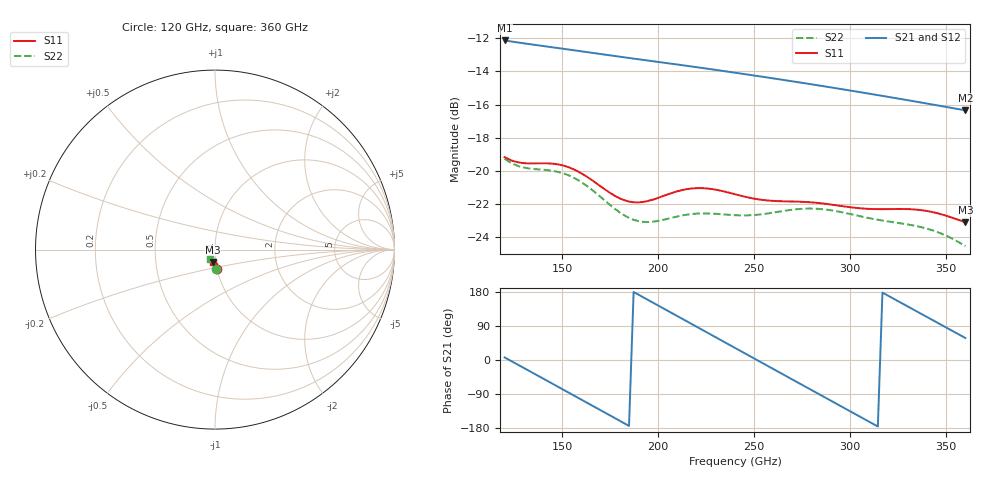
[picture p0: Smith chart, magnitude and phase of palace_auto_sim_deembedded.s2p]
! Created with skrf 1.11.0 (http://scikit-rf.org).
# GHz S DB R 50.0
!freq dBS11 angS11 dBS21 angS21 dBS12 angS12 dBS22 angS22
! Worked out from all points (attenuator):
!   101 points, 120 GHz to 360 GHz, reference 50 ohm
!   highest |S21| = -12.13 dB at 120 GHz (marker M1); lowest = -16.4 dB at 360 GHz (marker M2)
!   lowest |S11| = -23.1 dB at 360 GHz (marker M3), VSWR 1.15, Z = 48.3 - j6.69 ohm
!   |S11| at or under -10 dB: start of sweep to end of sweep
!   |S22| runs from -24.6 to -19.3 dB; largest |S21 - S12| = 3.6e-14
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120  -19.18 -83.6  -12.13 6.8  -12.13 6.8  -19.28 -86.0
129.6  -19.53 -81.2  -12.29 -19.9  -12.29 -19.9  -19.79 -83.9
141.6  -19.55 -81.6  -12.49 -53.3  -12.49 -53.3  -19.95 -84.1
151.2  -19.71 -84.5  -12.64 -80.1  -12.64 -80.1  -20.18 -87.0
160.8  -20.21 -87.6  -12.80 -106.9  -12.80 -106.9  -20.75 -90.5
172.8  -21.17 -88.7  -12.99 -140.4  -12.99 -140.4  -21.86 -92.3
182.4  -21.78 -86.3  -13.15 -167.2  -13.15 -167.2  -22.70 -90.4
192  -21.88 -82.8  -13.30 166.0  -13.30 166.0  -23.09 -86.5
201.6  -21.57 -81.1  -13.45 139.2  -13.45 139.2  -22.99 -83.6
211.2  -21.20 -82.2  -13.60 112.4  -13.60 112.4  -22.73 -83.2
220.8  -21.05 -85.0  -13.75 85.6  -13.75 85.6  -22.58 -84.5
240  -21.42 -89.9  -14.07 31.9  -14.07 31.9  -22.68 -87.0
249.6  -21.67 -90.8  -14.24 5.1  -14.24 5.1  -22.67 -87.5
259.2  -21.81 -91.0  -14.41 -21.7  -14.41 -21.7  -22.54 -88.5
271.2  -21.86 -91.8  -14.62 -55.2  -14.62 -55.2  -22.33 -91.2
280.8  -21.92 -93.0  -14.79 -81.9  -14.79 -81.9  -22.29 -94.4
290.4  -22.04 -94.2  -14.97 -108.7  -14.97 -108.7  -22.39 -97.7
302.4  -22.23 -95.0  -15.20 -142.1  -15.20 -142.1  -22.67 -101.2
312  -22.31 -95.3  -15.38 -168.8  -15.38 -168.8  -22.91 -103.4
321.6  -22.31 -95.8  -15.57 164.5  -15.57 164.5  -23.09 -105.6
340.8  -22.45 -98.7  -15.96 111.2  -15.96 111.2  -23.52 -111.3
360  -23.11 -100.0  -16.35 58.1  -16.35 58.1  -24.55 -117.4
